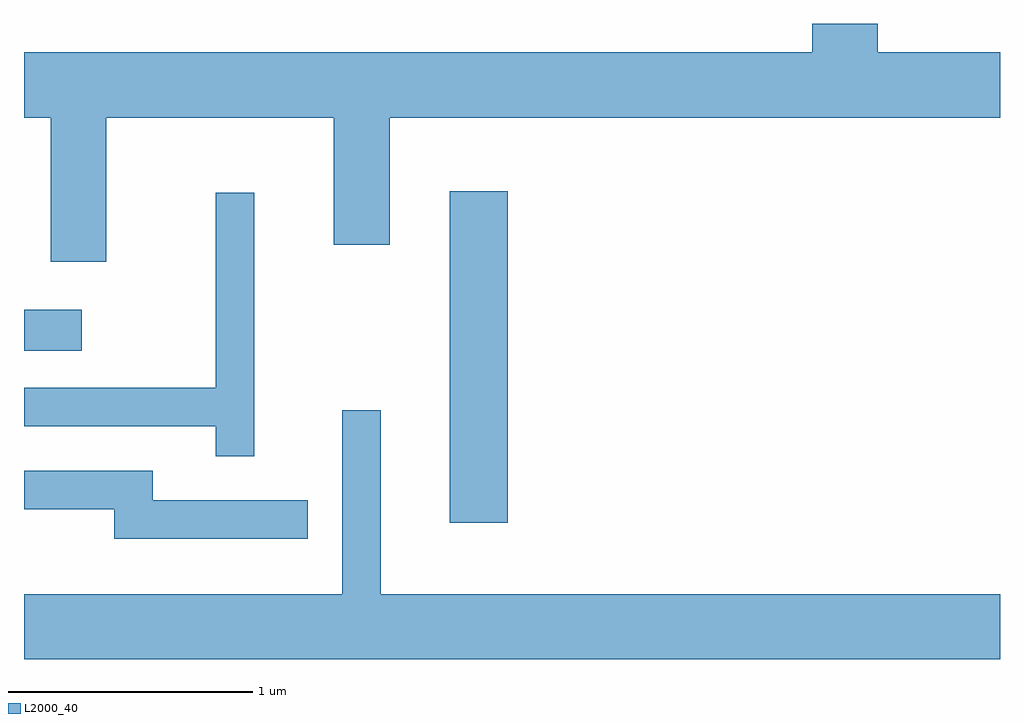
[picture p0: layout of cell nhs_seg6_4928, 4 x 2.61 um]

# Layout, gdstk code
import gdstk
lib = gdstk.Library(unit=1e-6, precision=1e-09)
def R(c, l, rs):  # rectangles x0, y0, x1, y1
    for r in rs: c.add(gdstk.rectangle(r[:2], r[2:], *l))
def P(c, l, *ps):  # polygons
    for p in ps: c.add(gdstk.Polygon(p, *l))
L2000_40 = (2000, 40)

nhs_seg6_4928 = lib.new_cell('nhs_seg6_4928')
R(nhs_seg6_4928, L2000_40, [(337.356,1586.116,337.594,1587.474), (335.611,1586.821,335.848,1586.989)])
P(nhs_seg6_4928, L2000_40, [(335.949,1587.776),(336.881,1587.776),(336.881,1587.256),(337.109,1587.256),(337.109,1587.776),(339.611,1587.776),(339.611,1588.044),(339.109,1588.044),(339.109,1588.162),(338.841,1588.162),(338.841,1588.044),(335.611,1588.044),(335.611,1587.776),(335.721,1587.776),(335.721,1587.186),(335.949,1587.186)],
  [(336.554,1587.468),(336.396,1587.468),(336.396,1586.669),(335.611,1586.669),(335.611,1586.511),(336.396,1586.511),(336.396,1586.388),(336.554,1586.388)],
  [(339.611,1585.824),(337.074,1585.824),(337.074,1586.578),(336.916,1586.578),(336.916,1585.824),(335.611,1585.824),(335.611,1585.556),(339.611,1585.556)],
  [(336.773,1586.209),(336.139,1586.209),(336.139,1586.329),(335.611,1586.329),(335.611,1586.171),(335.981,1586.171),(335.981,1586.051),(336.773,1586.051)])

lib.write_gds('nhs_seg6_4928.gds')
